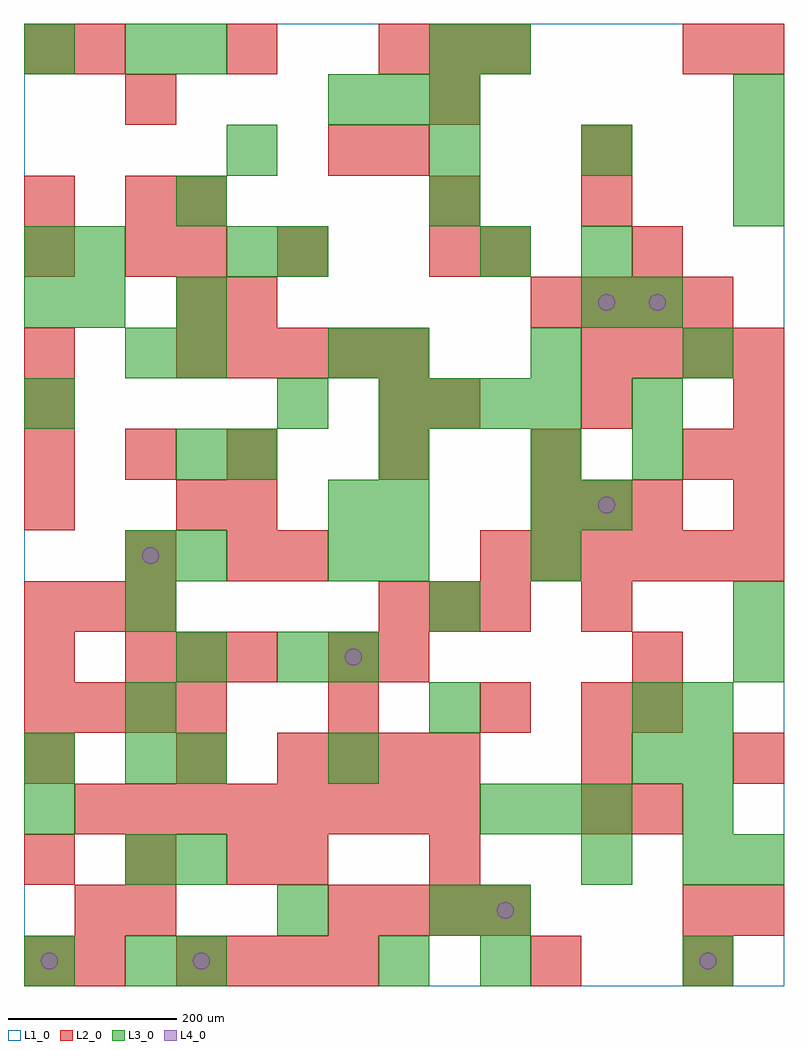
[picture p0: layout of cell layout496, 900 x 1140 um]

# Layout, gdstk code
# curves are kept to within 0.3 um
import gdstk
lib = gdstk.Library(unit=1e-6, precision=1e-09)
def R(c, l, rs):  # rectangles x0, y0, x1, y1
    for r in rs: c.add(gdstk.rectangle(r[:2], r[2:], *l))
def A(c, l, x, y, w, h, nx, ny, dx, dy):  # array of equal rectangles
    R(c, l, [(x+i*dx, y+j*dy, x+i*dx+w, y+j*dy+h) for i in range(nx) for j in range(ny)])
def P(c, l, *ps):  # polygons
    for p in ps: c.add(gdstk.Polygon(p, *l))
L1_0 = (1, 0)
L2_0 = (2, 0)
L3_0 = (3, 0)
L4_0 = (4, 0)

layout496 = lib.new_cell('layout496')
R(layout496, L1_0, [(0,0,900,1140)])
A(layout496, L2_0, 180, 0, 60, 60, 4, 1, 60, 0)
A(layout496, L2_0, 360, 60, 60, 60, 4, 1, 60, 0)
A(layout496, L2_0, 0, 120, 60, 60, 3, 2, 120, 480)
A(layout496, L2_0, 300, 120, 60, 60, 1, 3, 0, 360)
A(layout496, L2_0, 60, 180, 60, 60, 8, 1, 60, 0)
A(layout496, L2_0, 660, 180, 60, 60, 1, 3, 0, 60)
A(layout496, L2_0, 300, 240, 60, 60, 4, 1, 60, 0)
A(layout496, L2_0, 0, 300, 60, 60, 4, 1, 60, 0)
A(layout496, L2_0, 120, 360, 60, 60, 3, 1, 60, 0)
A(layout496, L2_0, 420, 360, 60, 60, 1, 3, 0, 300)
A(layout496, L2_0, 0, 420, 60, 60, 3, 1, 60, 0)
A(layout496, L2_0, 420, 420, 60, 60, 3, 1, 60, 0)
A(layout496, L2_0, 540, 480, 60, 60, 6, 1, 60, 0)
A(layout496, L2_0, 600, 540, 60, 60, 3, 1, 60, 0)
A(layout496, L2_0, 420, 600, 60, 60, 3, 1, 180, 0)
A(layout496, L2_0, 480, 660, 60, 60, 3, 1, 180, 0)
A(layout496, L2_0, 180, 720, 60, 60, 5, 1, 60, 0)
A(layout496, L2_0, 660, 720, 60, 60, 4, 1, 60, 0)
A(layout496, L2_0, 180, 780, 60, 60, 1, 3, 0, 60)
A(layout496, L2_0, 600, 780, 60, 60, 4, 1, 60, 0)
A(layout496, L2_0, 60, 1080, 60, 60, 3, 1, 180, 0)
R(layout496, L2_0, [(0,0,60,60), (60,0,120,60), (600,0,660,60), (780,0,840,60), (60,60,120,120), (120,60,180,120), (780,60,840,120), (840,60,900,120), (480,120,540,180), (720,180,780,240), (0,240,60,300), (180,240,240,300), (840,240,900,300), (360,300,420,360), (540,300,600,360), (720,300,780,360), (0,360,60,420), (360,360,420,420), (720,360,780,420), (660,420,720,480), (120,480,180,540), (240,480,300,540), (0,540,60,600), (180,540,240,600), (240,540,300,600), (840,540,900,600), (840,600,900,660), (0,660,60,720), (0,720,60,780), (240,780,300,840), (0,840,60,900), (120,840,180,900), (480,840,540,900), (540,840,600,900), (720,840,780,900), (0,900,60,960), (120,900,180,960), (480,900,540,960), (660,900,720,960), (360,960,420,1020), (660,960,720,1020), (120,1020,180,1080), (480,1020,540,1080), (0,1080,60,1140), (480,1080,540,1140), (540,1080,600,1140), (780,1080,840,1140), (840,1080,900,1140)])
A(layout496, L3_0, 120, 0, 60, 60, 1, 3, 0, 120)
A(layout496, L3_0, 180, 0, 60, 60, 1, 7, 0, 120)
A(layout496, L3_0, 300, 60, 60, 60, 1, 3, 0, 300)
A(layout496, L3_0, 780, 120, 60, 60, 1, 4, 0, 60)
A(layout496, L3_0, 540, 180, 60, 60, 3, 1, 60, 0)
A(layout496, L3_0, 360, 240, 60, 60, 1, 3, 0, 120)
A(layout496, L3_0, 120, 420, 60, 60, 3, 1, 360, 0)
A(layout496, L3_0, 240, 600, 60, 60, 3, 1, 180, 0)
A(layout496, L3_0, 420, 660, 60, 60, 4, 1, 60, 0)
A(layout496, L3_0, 420, 720, 60, 60, 3, 1, 180, 0)
A(layout496, L3_0, 480, 960, 60, 60, 3, 1, 180, 0)
A(layout496, L3_0, 360, 1020, 60, 60, 3, 1, 60, 0)
R(layout496, L3_0, [(0,0,60,60), (420,0,480,60), (540,0,600,60), (780,0,840,60), (480,60,540,120), (540,60,600,120), (660,120,720,180), (840,120,900,180), (0,180,60,240), (0,240,60,300), (720,240,780,300), (120,300,180,360), (480,300,540,360), (720,300,780,360), (840,360,900,420), (120,480,180,540), (420,480,480,540), (600,480,660,540), (360,540,420,600), (420,540,480,600), (600,540,660,600), (660,540,720,600), (720,600,780,660), (0,660,60,720), (720,660,780,720), (120,720,180,780), (360,720,420,780), (0,780,60,840), (60,780,120,840), (180,780,240,840), (660,780,720,840), (720,780,780,840), (0,840,60,900), (60,840,120,900), (240,840,300,900), (300,840,360,900), (540,840,600,900), (660,840,720,900), (180,900,240,960), (480,900,540,960), (840,900,900,960), (240,960,300,1020), (840,1020,900,1080), (0,1080,60,1140), (120,1080,180,1140), (180,1080,240,1140), (480,1080,540,1140), (540,1080,600,1140)])
P(layout496, L4_0, [(40,30),(39.239,33.827),(37.071,37.071),(33.827,39.239),(30,40),(26.173,39.239),(22.929,37.071),(20.761,33.827),(20,30),(20.761,26.173),(22.929,22.929),(26.173,20.761),(30,20),(33.827,20.761),(37.071,22.929),(39.239,26.173)],
  [(160,510),(159.239,513.827),(157.071,517.071),(153.827,519.239),(150,520),(146.173,519.239),(142.929,517.071),(140.761,513.827),(140,510),(140.761,506.173),(142.929,502.929),(146.173,500.761),(150,500),(153.827,500.761),(157.071,502.929),(159.239,506.173)],
  [(220,30),(219.239,33.827),(217.071,37.071),(213.827,39.239),(210,40),(206.173,39.239),(202.929,37.071),(200.761,33.827),(200,30),(200.761,26.173),(202.929,22.929),(206.173,20.761),(210,20),(213.827,20.761),(217.071,22.929),(219.239,26.173)],
  [(400,390),(399.239,393.827),(397.071,397.071),(393.827,399.239),(390,400),(386.173,399.239),(382.929,397.071),(380.761,393.827),(380,390),(380.761,386.173),(382.929,382.929),(386.173,380.761),(390,380),(393.827,380.761),(397.071,382.929),(399.239,386.173)],
  [(580,90),(579.239,93.827),(577.071,97.071),(573.827,99.239),(570,100),(566.173,99.239),(562.929,97.071),(560.761,93.827),(560,90),(560.761,86.173),(562.929,82.929),(566.173,80.761),(570,80),(573.827,80.761),(577.071,82.929),(579.239,86.173)],
  [(700,570),(699.239,573.827),(697.071,577.071),(693.827,579.239),(690,580),(686.173,579.239),(682.929,577.071),(680.761,573.827),(680,570),(680.761,566.173),(682.929,562.929),(686.173,560.761),(690,560),(693.827,560.761),(697.071,562.929),(699.239,566.173)],
  [(700,810),(699.239,813.827),(697.071,817.071),(693.827,819.239),(690,820),(686.173,819.239),(682.929,817.071),(680.761,813.827),(680,810),(680.761,806.173),(682.929,802.929),(686.173,800.761),(690,800),(693.827,800.761),(697.071,802.929),(699.239,806.173)],
  [(760,810),(759.239,813.827),(757.071,817.071),(753.827,819.239),(750,820),(746.173,819.239),(742.929,817.071),(740.761,813.827),(740,810),(740.761,806.173),(742.929,802.929),(746.173,800.761),(750,800),(753.827,800.761),(757.071,802.929),(759.239,806.173)],
  [(820,30),(819.239,33.827),(817.071,37.071),(813.827,39.239),(810,40),(806.173,39.239),(802.929,37.071),(800.761,33.827),(800,30),(800.761,26.173),(802.929,22.929),(806.173,20.761),(810,20),(813.827,20.761),(817.071,22.929),(819.239,26.173)])

lib.write_gds('layout496.gds')
